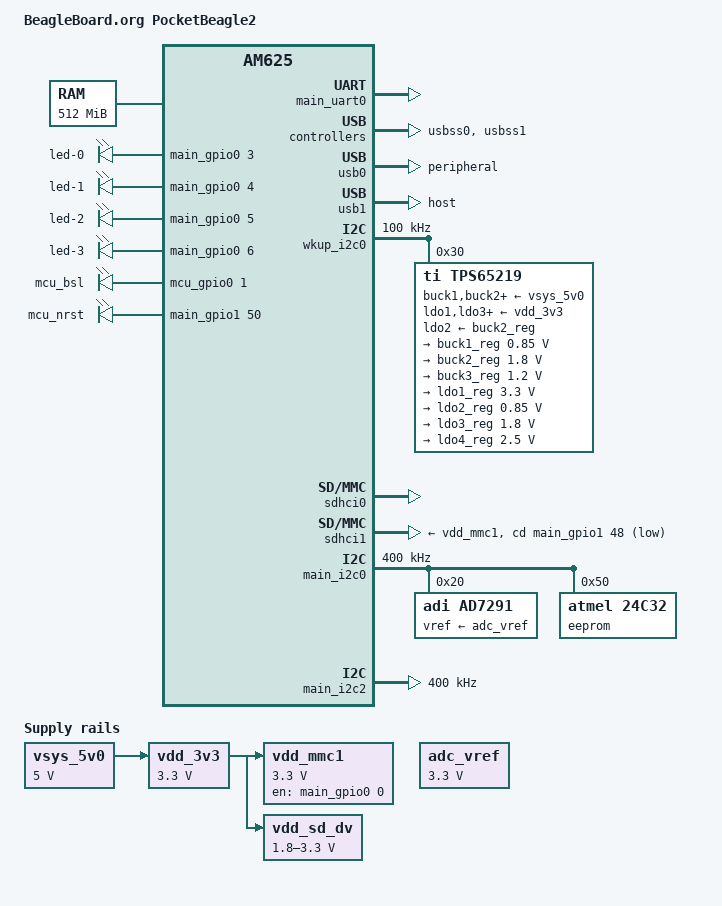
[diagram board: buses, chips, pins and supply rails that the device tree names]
// SPDX-License-Identifier: GPL-2.0-only OR MIT
/*
 * https://beagleboard.org/pocketbeagle2
 *
 * Copyright (C) 2024 Texas Instruments Incorporated - https://www.ti.com/
 * Copyright (C) 2024 Robert Nelson, BeagleBoard.org Foundation
 */

/dts-v1/;

#include <dt-bindings/leds/common.h>
#include <dt-bindings/gpio/gpio.h>
#include <dt-bindings/input/input.h>
#include "k3-am625.dtsi"
#include "k3-am625-pocketbeagle2-pinmux.dtsi"

/ {
	compatible = "beagle,am625-pocketbeagle2", "ti,am625";
	model = "BeagleBoard.org PocketBeagle2";

	aliases {
		serial0 = &wkup_uart0;
		serial2 = &main_uart0;
		mmc0 = &sdhci0;
		mmc1 = &sdhci1;
		usb0 = &usb0;
		usb1 = &usb1;
		i2c0 = &main_i2c0;
		i2c1 = &wkup_i2c0;
		i2c2 = &main_i2c2;
	};

	chosen {
		stdout-path = "serial2:115200n8";
	};

	memory@80000000 {
		/* 512MB RAM */
		reg = <0x00000000 0x80000000 0x00000000 0x20000000>;
		device_type = "memory";
		bootph-pre-ram;
	};

	reserved_memory: reserved-memory {
		#address-cells = <2>;
		#size-cells = <2>;
		ranges;

		secure_tfa_ddr: tfa@9e780000 {
			reg = <0x00 0x9e780000 0x00 0x80000>;
			no-map;
		};

		secure_ddr: optee@9e800000 {
			reg = <0x00 0x9e800000 0x00 0x01800000>;
			no-map;
		};

		wkup_r5fss0_core0_dma_memory_region: r5f-dma-memory@9db00000 {
			compatible = "shared-dma-pool";
			reg = <0x00 0x9db00000 0x00 0xc00000>;
			no-map;
		};
	};

	vsys_5v0: regulator-1 {
		compatible = "regulator-fixed";
		regulator-name = "vsys_5v0";
		regulator-min-microvolt = <5000000>;
		regulator-max-microvolt = <5000000>;
		regulator-always-on;
		regulator-boot-on;
		bootph-all;
	};

	vdd_3v3: regulator-2 {
		compatible = "regulator-fixed";
		regulator-name = "vdd_3v3";
		regulator-min-microvolt = <3300000>;
		regulator-max-microvolt = <3300000>;
		vin-supply = <&vsys_5v0>;
		regulator-always-on;
		regulator-boot-on;
		bootph-all;
	};

	vdd_mmc1: regulator-3 {
		compatible = "regulator-fixed";
		regulator-name = "vdd_mmc1";
		pinctrl-names = "default";
		pinctrl-0 = <&vdd_3v3_sd_pins_default>;
		regulator-min-microvolt = <3300000>;
		regulator-max-microvolt = <3300000>;
		regulator-boot-on;
		enable-active-high;
		regulator-always-on;
		vin-supply = <&vdd_3v3>;
		gpio = <&main_gpio0 0 GPIO_ACTIVE_HIGH>;
		bootph-all;
	};

	vdd_sd_dv: regulator-4 {
		compatible = "regulator-gpio";
		regulator-name = "sd_hs200_switch";
		pinctrl-names = "default";
		pinctrl-0 = <&vdd_sd_dv_pins_default>;
		regulator-min-microvolt = <1800000>;
		regulator-max-microvolt = <3300000>;
		regulator-boot-on;
		vin-supply = <&vdd_3v3>;
		gpios = <&main_gpio1 49 GPIO_ACTIVE_HIGH>;
		states = <1800000 0x0>,
			 <3300000 0x1>;
		bootph-all;
	};

	adc_vref: regulator-5 {
		compatible = "regulator-fixed";
		regulator-name = "default";
		regulator-min-microvolt = <3300000>;
		regulator-max-microvolt = <3300000>;
		regulator-boot-on;
	};

	leds {
		bootph-all;
		compatible = "gpio-leds";
		pinctrl-names = "default";
		pinctrl-0 = <&led_pins_default &main_mcu_pins_default &wkup_mcu_pins_default>;

		led-0 {
			bootph-all;
			gpios = <&main_gpio0 3 GPIO_ACTIVE_HIGH>;
			linux,default-trigger = "heartbeat";
			function = LED_FUNCTION_HEARTBEAT;
		};

		led-1 {
			bootph-all;
			gpios = <&main_gpio0 4 GPIO_ACTIVE_HIGH>;
			function = LED_FUNCTION_DISK_ACTIVITY;
			linux,default-trigger = "mmc0";
		};

		led-2 {
			bootph-all;
			gpios = <&main_gpio0 5 GPIO_ACTIVE_HIGH>;
			function = LED_FUNCTION_CPU;
			linux,default-trigger = "cpu";
		};

		led-3 {
			bootph-all;
			gpios = <&main_gpio0 6 GPIO_ACTIVE_HIGH>;
			function = LED_FUNCTION_DISK_ACTIVITY;
			linux,default-trigger = "mmc1";
		};

		/* FIXME: https://git.kernel.org/pub/scm/linux/kernel/git/torvalds/linux.git/commit/?id=c966c715c77717bd8bdda32a46b33868acb7a4e2 */
		led-4 {
			bootph-all;
			label = "mcu_bsl";
			gpios = <&mcu_gpio0 1 GPIO_ACTIVE_HIGH>;
			linux,default-trigger = "default-off";
		};

		/* FIXME: https://git.kernel.org/pub/scm/linux/kernel/git/torvalds/linux.git/commit/?id=c966c715c77717bd8bdda32a46b33868acb7a4e2 */
		led-5 {
			bootph-all;
			label = "mcu_nrst";
			gpios = <&main_gpio1 50 GPIO_ACTIVE_HIGH>;
			linux,default-trigger = "default-on";
			default-state = "on";
		};
	};
};

&main_pmx0 {
	led_pins_default: led-default-pins {
		pinctrl-single,pins = <
			AM62X_IOPAD(0x000c, PIN_OUTPUT, 7) /* (E25) OSPI0_D0.GPIO0_3 */
			AM62X_IOPAD(0x0010, PIN_OUTPUT, 7) /* (G24) OSPI0_D1.GPIO0_4 */
			AM62X_IOPAD(0x0014, PIN_OUTPUT, 7) /* (F25) OSPI0_D2.GPIO0_5 */
			AM62X_IOPAD(0x0018, PIN_OUTPUT, 7) /* (F24) OSPI0_D3.GPIO0_6 */
		>;
		bootph-all;
	};

	main_mcu_pins_default: main_mcu-default-pins {
		pinctrl-single,pins = <
			AM62X_IOPAD(0x0254, PIN_OUTPUT, 7) /* (C20) USB0_DRVVBUS.GPIO1_50 */
		>;
		bootph-all;
	};

	main_i2c0_pins_default: main-i2c0-default-pins {
		pinctrl-single,pins = <
			AM62X_IOPAD(0x01e0, PIN_INPUT_PULLUP, 0) /* (B16) I2C0_SCL */
			AM62X_IOPAD(0x01e4, PIN_INPUT_PULLUP, 0) /* (A16) I2C0_SDA */
		>;
		bootph-all;
	};

	main_i2c2_pins_default: main_i2c2-default-pins {
		pinctrl-single,pins = <
			AM62X_IOPAD(0x00b0, PIN_INPUT_PULLUP, 1) /* (K22) GPMC0_CSn2.I2C2_SCL */
			AM62X_IOPAD(0x00b4, PIN_INPUT_PULLUP, 1) /* (K24) GPMC0_CSn3.I2C2_SDA */
		>;
		bootph-all;
	};

	/* First pad number is ALW package and second is AMC package */
	main_uart0_pins_default: main-uart0-default-pins {
		pinctrl-single,pins = <
			AM62X_IOPAD(0x1c8, PIN_INPUT, 0) /* (D14/A13) UART0_RXD */
			AM62X_IOPAD(0x1cc, PIN_OUTPUT, 0) /* (E14/E11) UART0_TXD */
		>;
		bootph-all;
	};

	main_uart1_pins_default: main-uart1-default-pins {
		pinctrl-single,pins = <
			AM62X_IOPAD(0x194, PIN_INPUT, 2) /* (B19/B18) MCASP0_AXR3.UART1_CTSn */
			AM62X_IOPAD(0x198, PIN_OUTPUT, 2) /* (A19/B17) MCASP0_AXR2.UART1_RTSn */
			AM62X_IOPAD(0x1ac, PIN_INPUT, 2) /* (E19/D15) MCASP0_AFSR.UART1_RXD */
			AM62X_IOPAD(0x1b0, PIN_OUTPUT, 2) /* (A20/D16) MCASP0_ACLKR.UART1_TXD */
		>;
		bootph-all;
	};

	main_mmc0_pins_default: main-mmc0-default-pins {
		pinctrl-single,pins = <
			AM62X_IOPAD(0x220, PIN_INPUT, 0) /* (Y3/V3) MMC0_CMD */
			AM62X_IOPAD(0x218, PIN_INPUT, 0) /* (AB1/Y1) MMC0_CLK */
			AM62X_IOPAD(0x214, PIN_INPUT, 0) /* (AA2/V2) MMC0_DAT0 */
			AM62X_IOPAD(0x210, PIN_INPUT, 0) /* (AA1/V1) MMC0_DAT1 */
			AM62X_IOPAD(0x20c, PIN_INPUT, 0) /* (AA3/W2) MMC0_DAT2 */
			AM62X_IOPAD(0x208, PIN_INPUT, 0) /* (Y4/W1) MMC0_DAT3 */
			AM62X_IOPAD(0x204, PIN_INPUT, 0) /* (AB2/Y2) MMC0_DAT4 */
			AM62X_IOPAD(0x200, PIN_INPUT, 0) /* (AC1/W3) MMC0_DAT5 */
			AM62X_IOPAD(0x1fc, PIN_INPUT, 0) /* (AD2/W4) MMC0_DAT6 */
			AM62X_IOPAD(0x1f8, PIN_INPUT, 0) /* (AC2/V4) MMC0_DAT7 */
		>;
		bootph-all;
	};

	main_mmc1_pins_default: main-mmc1-default-pins {
		pinctrl-single,pins = <
			AM62X_IOPAD(0x23c, PIN_INPUT, 0) /* (A21/C18) MMC1_CMD */
			AM62X_IOPAD(0x234, PIN_INPUT, 0) /* (B22/A20) MMC1_CLK */
			AM62X_IOPAD(0x230, PIN_INPUT, 0) /* (A22/A19) MMC1_DAT0 */
			AM62X_IOPAD(0x22c, PIN_INPUT, 0) /* (B21/B19) MMC1_DAT1 */
			AM62X_IOPAD(0x228, PIN_INPUT, 0) /* (C21/B20) MMC1_DAT2 */
			AM62X_IOPAD(0x224, PIN_INPUT, 0) /* (D22/C19) MMC1_DAT3 */
			AM62X_IOPAD(0x240, PIN_INPUT, 7) /* (D17/C15) MMC1_SDCD.GPIO1_48 */
		>;
		bootph-all;
	};

	vdd_sd_dv_pins_default: vdd-sd-dv-default-pins {
		pinctrl-single,pins = <
			AM62X_IOPAD(0x0244, PIN_OUTPUT, 7) /* (P25) GPMC0_CLK.GPIO1_49 */
		>;
		bootph-all;
	};

	pmic_irq_pins_default: pmic-irq-default-pins {
		pinctrl-single,pins = <
			AM62X_IOPAD(0x01f4, PIN_INPUT_PULLUP, 0) /* (D16) EXTINTn */
		>;
		bootph-all;
	};

	vdd_3v3_sd_pins_default: vdd-3v3-sd-default-pins {
		pinctrl-single,pins = <
			AM62X_IOPAD(0x0000, PIN_OUTPUT, 7) /* (H24) OSPI0_CLK.GPIO0_0 */
		>;
		bootph-all;
	};

	usb1_pins_default: usb1-default-pins {
		pinctrl-single,pins = <
			AM62X_IOPAD(0x0258, PIN_INPUT, 0) /* (F18) USB1_DRVVBUS */
		>;
		bootph-all;
	};

	main_gpio0_pins_default: main-gpio0-default-pins {
		pinctrl-single,pins = <
			AM62X_IOPAD(0x00c8, PIN_INPUT, 7) /* (Y25) VOUT0_DATA4.GPIO0_49 */
			AM62X_IOPAD(0x00cc, PIN_INPUT, 7) /* (Y24) VOUT0_DATA5.GPIO0_50 */
			AM62X_IOPAD(0x00d0, PIN_INPUT, 7) /* (Y23) VOUT0_DATA6.GPIO0_51 */
			AM62X_IOPAD(0x00d4, PIN_INPUT, 7) /* (AA25) VOUT0_DATA7.GPIO0_52 */
			AM62X_IOPAD(0x00d8, PIN_INPUT, 7) /* (V21) VOUT0_DATA8.GPIO0_53 */
			AM62X_IOPAD(0x0100, PIN_INPUT, 7) /* (AC25) VOUT0_VSYNC.GPIO0_63 */
		>;
	};

	main_gpio1_pins_default: main-gpio1-default-pins {
		pinctrl-single,pins = <
			AM62X_IOPAD(0x01a0, PIN_INPUT, 7) /* (E18) MCASP0_AXR0.GPIO1_10 */
			AM62X_IOPAD(0x01a8, PIN_INPUT, 7) /* (D20) MCASP0_AFSX.GPIO1_12 */
			AM62X_IOPAD(0x0180, PIN_INPUT, 7) /* (AD23) RGMII2_RXC.GPIO1_2 */
		>;
	};

	main_spi2_pins_gpio: main-spi2-gpio-pins {
		pinctrl-single,pins = <
			AM62X_IOPAD(0x0194, PIN_INPUT, 7) /* (B19) MCASP0_AXR3.GPIO1_7 */
			AM62X_IOPAD(0x0198, PIN_INPUT, 7) /* (A19) MCASP0_AXR2.GPIO1_8 */
			AM62X_IOPAD(0x01ac, PIN_INPUT, 7) /* (E19) MCASP0_AFSR.GPIO1_13 */
			AM62X_IOPAD(0x01b0, PIN_INPUT, 7) /* (A20) MCASP0_ACLKR.GPIO1_14 */
		>;
	};
};

&main_gpio0 {
	pinctrl-names = "default";
	pinctrl-0 = <&main_gpio0_pins_default>;
	status = "okay";
	gpio-line-names = "", "", "",	/* 0-2 */
			  "", "", "",	/* 3-5 */
			  "", "", "",	/* 6-8 */
			  "", "", "",	/* 9-11 */
			  "", "", "",	/* 12-14 */
			  "", "", "",	/* 15-17 */
			  "", "", "",	/* 18-20 */
			  "", "", "",	/* 21-23 */
			  "", "", "",	/* 24-26 */
			  "", "", "",	/* 27-29 */
			  "", "", "",	/* 30-32 */
			  "", "", "",	/* 33-35 */
			  "", "", "",	/* 36-38 */
			  "", "", "",	/* 39-41 */
			  "", "", "",	/* 42-44 */
			  "", "", "",	/* 45-47 */
			  "", "P2_20", "P1_20",	/* 48-50 */
			  "P2_24", "P2_33", "P2_18",	/* 51-53 */
			  "", "", "",	/* 54-56 */
			  "", "", "",	/* 57-59 */
			  "", "", "",	/* 60-62 */
			  "P2_22", "", "",	/* 63-65 */
			  "", "", "",	/* 66-68 */
			  "", "", "",	/* 69-71 */
			  "", "", "",	/* 72-74 */
			  "", "", "",	/* 75-77 */
			  "", "", "",	/* 78-80 */
			  "", "", "",	/* 81-83 */
			  "", "", "",	/* 84-86 */
			  "", "", "",	/* 87-89 */
			  "", "";	/* 90-91 */
};

&main_gpio1 {
	pinctrl-names = "default";
	pinctrl-0 = <&main_gpio1_pins_default>;
	status = "okay";
	gpio-line-names = "", "", "P1_34",	/* 0-2 */
			  "", "", "",	/* 3-5 */
			  "", "P1_10", "P1_12",	/* 6-8 */
			  "", "P1_2", "",	/* 9-11 */
			  "P1_4", "P1_6", "P1_8",	/* 12-14 */
			  "", "", "",	/* 15-17 */
			  "", "", "",	/* 18-20 */
			  "", "", "",	/* 21-23 */
			  "", "", "",	/* 24-26 */
			  "", "", "",	/* 27-29 */
			  "", "", "",	/* 30-32 */
			  "", "", "",	/* 33-35 */
			  "", "", "",	/* 36-38 */
			  "", "", "",	/* 39-41 */
			  "", "", "",	/* 42-44 */
			  "", "", "",	/* 45-47 */
			  "", "", "",	/* 48-50 */
			  "", "", "",	/* 51-53 */
			  "", "", "",	/* 54-56 */
			  "", "", "",	/* 57-59 */
			  "", "", "",	/* 60-62 */
			  "", "", "",	/* 63-65 */
			  "", "", "",	/* 66-68 */
			  "", "", "",	/* 69-71 */
			  "", "", "",	/* 72-74 */
			  "", "", "",	/* 75-77 */
			  "", "", "",	/* 78-80 */
			  "", "", "",	/* 81-83 */
			  "", "", "",	/* 84-86 */
			  "", "", "",	/* 87-89 */
			  "", "";	/* 90-91 */
};

&main_uart0 {
	pinctrl-names = "default";
	pinctrl-0 = <&main_uart0_pins_default>;
	bootph-all;
	status = "okay";
};

&main_uart1 {
	pinctrl-names = "default";
	pinctrl-0 = <&main_uart1_pins_default>;
	bootph-pre-ram;
	status = "reserved";
};

&mcu_pmx0 {
	wkup_mcu_pins_default: wkup-mcu-default-pins {
		pinctrl-single,pins = <
			AM62X_MCU_IOPAD(0x004, PIN_OUTPUT, 7)	/* (C6/A7) WKUP_UART0_CTSn */
		>;
		bootph-all;
	};

	wkup_uart0_pins_default: wkup-uart0-default-pins {
		pinctrl-single,pins = <
			AM62X_MCU_IOPAD(0x02c, PIN_INPUT, 0)	/* (C6/A7) WKUP_UART0_CTSn */
			AM62X_MCU_IOPAD(0x030, PIN_OUTPUT, 0)	/* (A4/B4) WKUP_UART0_RTSn */
			AM62X_MCU_IOPAD(0x024, PIN_INPUT, 0)	/* (B4/B5) WKUP_UART0_RXD */
			AM62X_MCU_IOPAD(0x028, PIN_OUTPUT, 0)	/* (C5/C6) WKUP_UART0_TXD */
		>;
		bootph-all;
	};

	wkup_i2c0_pins_default: wkup-i2c0-default-pins {
		pinctrl-single,pins = <
			AM62X_MCU_IOPAD(0x004c, PIN_INPUT_PULLUP, 0)	/* (B9) WKUP_I2C0_SCL */
			AM62X_MCU_IOPAD(0x0050, PIN_INPUT_PULLUP, 0)	/* (A9) WKUP_I2C0_SDA */
		>;
		bootph-all;
	};
};

&usbss0 {
	bootph-all;
	ti,vbus-divider;
	status = "okay";
};

&usb0 {
	bootph-all;
	dr_mode = "peripheral";
};

&usbss1 {
	ti,vbus-divider;
	status = "okay";
};

&usb1 {
	dr_mode = "host";
	pinctrl-names = "default";
	pinctrl-0 = <&usb1_pins_default>;
};

&wkup_uart0 {
	/* WKUP UART0 is used by Device Manager firmware */
	pinctrl-names = "default";
	pinctrl-0 = <&wkup_uart0_pins_default>;
	bootph-all;
	status = "reserved";
};

&wkup_i2c0 {
	pinctrl-names = "default";
	pinctrl-0 = <&wkup_i2c0_pins_default>;
	clock-frequency = <100000>;
	bootph-all;
	status = "okay";

	tps65219: pmic@30 {
		compatible = "ti,tps65219";
		reg = <0x30>;
		buck1-supply = <&vsys_5v0>;
		buck2-supply = <&vsys_5v0>;
		buck3-supply = <&vsys_5v0>;
		ldo1-supply = <&vdd_3v3>;
		ldo2-supply = <&buck2_reg>;
		ldo3-supply = <&vdd_3v3>;
		ldo4-supply = <&vdd_3v3>;

		pinctrl-names = "default";
		pinctrl-0 = <&pmic_irq_pins_default>;
		interrupt-parent = <&gic500>;
		interrupts = <GIC_SPI 224 IRQ_TYPE_LEVEL_HIGH>;
		interrupt-controller;
		#interrupt-cells = <1>;

		bootph-all;
		system-power-controller;
		ti,power-button;

		regulators {
			buck1_reg: buck1 {
				regulator-name = "VDD_CORE";
				regulator-min-microvolt = <850000>;
				regulator-max-microvolt = <850000>;
				regulator-boot-on;
				regulator-always-on;
			};

			buck2_reg: buck2 {
				regulator-name = "VDD_1V8";
				regulator-min-microvolt = <1800000>;
				regulator-max-microvolt = <1800000>;
				regulator-boot-on;
				regulator-always-on;
			};

			buck3_reg: buck3 {
				regulator-name = "VDD_1V2";
				regulator-min-microvolt = <1200000>;
				regulator-max-microvolt = <1200000>;
				regulator-boot-on;
				regulator-always-on;
			};

			ldo1_reg: ldo1 {
				/*
				 * Regulator is left as is unused, vdd_sd
				 * is controlled via GPIO with bypass config
				 * as per the NVM configuration
				 */
				regulator-name = "VDD_SD_3V3";
				regulator-min-microvolt = <3300000>;
				regulator-max-microvolt = <3300000>;
				regulator-allow-bypass;
				regulator-boot-on;
				regulator-always-on;
			};

			ldo2_reg: ldo2 {
				regulator-name = "VDDA_0V85";
				regulator-min-microvolt = <850000>;
				regulator-max-microvolt = <850000>;
				regulator-boot-on;
				regulator-always-on;
			};

			ldo3_reg: ldo3 {
				regulator-name = "VDDA_1V8";
				regulator-min-microvolt = <1800000>;
				regulator-max-microvolt = <1800000>;
				regulator-boot-on;
				regulator-always-on;
			};

			ldo4_reg: ldo4 {
				regulator-name = "VDD_2V5";
				regulator-min-microvolt = <2500000>;
				regulator-max-microvolt = <2500000>;
				regulator-boot-on;
				regulator-always-on;
			};
		};
	};
};

&sdhci0 {
	pinctrl-names = "default";
	pinctrl-0 = <&main_mmc0_pins_default>;
	disable-wp;
	bootph-all;
	status = "okay";
};

&sdhci1 {
	/* SD/MMC */
	vmmc-supply = <&vdd_mmc1>;
	vqmmc-supply = <&vdd_sd_dv>;
	pinctrl-names = "default";
	pinctrl-0 = <&main_mmc1_pins_default>;
	disable-wp;
	cd-gpios = <&main_gpio1 48 GPIO_ACTIVE_LOW>;
	cd-debounce-delay-ms = <100>;
	bootph-all;
	ti,fails-without-test-cd;
	status = "okay";
};

&main_i2c0 {
	pinctrl-names = "default";
	pinctrl-0 = <&main_i2c0_pins_default>;
	clock-frequency = <400000>;
	bootph-all;
	status = "okay";

	ad7291: adc@20 {
		compatible = "adi,ad7291";
		reg = <0x20>;
		vref-supply = <&adc_vref>;
	};

	eeprom: eeprom@50 {
		compatible = "atmel,24c32";
		reg = <0x50>;
	};
};

&main_i2c2 {
	pinctrl-names = "default";
	pinctrl-0 = <&main_i2c2_pins_default>;
	clock-frequency = <400000>;
	bootph-all;
	status = "okay";
};
